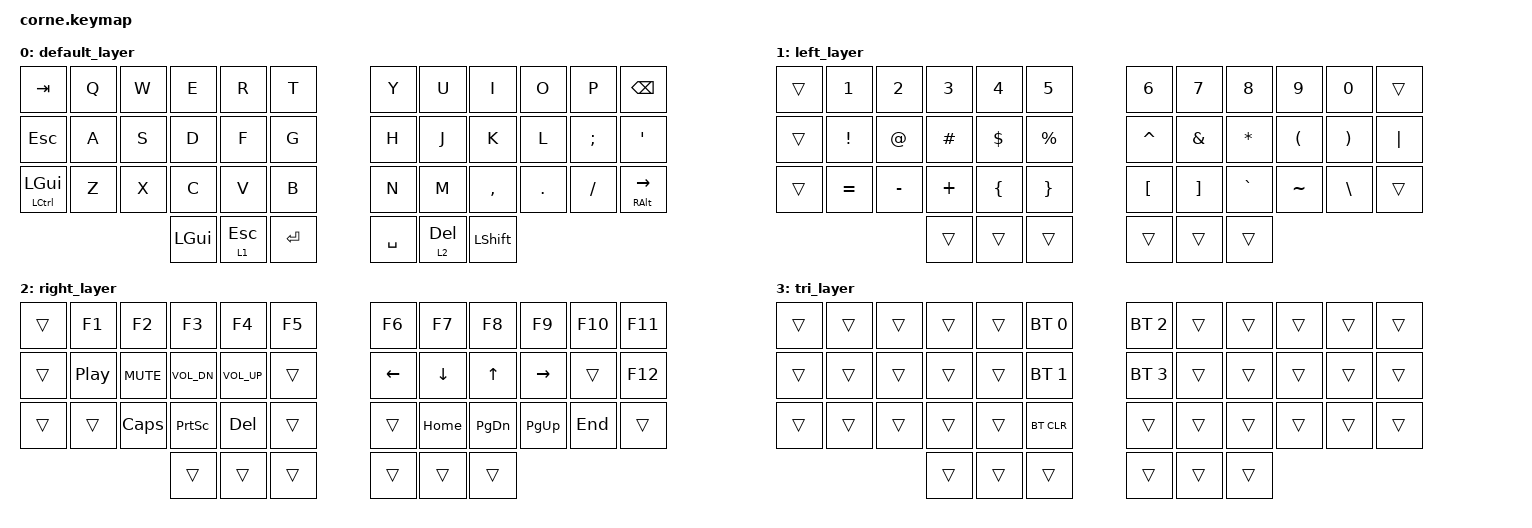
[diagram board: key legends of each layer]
/*
 * Copyright (c) 2020 The ZMK Contributors
 *
 * SPDX-License-Identifier: MIT
 */

#include <behaviors.dtsi>
#include <dt-bindings/zmk/keys.h>
#include <dt-bindings/zmk/bt.h>

#define NIX 0
#define LEF 1
#define RIG 2
#define TRI 3

/ {
    conditional_layers {
        compatible = "zmk,conditional-layers";

        tri_layer {
            if-layers = <LEF RIG>;
            then-layer = <TRI>;
        };
    };

    combos {
        compatible = "zmk,combos";

        new_combo {
            bindings = <&to 3>;
            key-positions = <37 40>;
        };
    };

    keymap {
        compatible = "zmk,keymap";

        default_layer {
            bindings = <
           &kp TAB  &kp Q  &kp W     &kp E         &kp R      &kp T        &kp Y         &kp U      &kp I    &kp O     &kp P        &kp BSPC
           &kp ESC  &kp A  &kp S     &kp D         &kp F      &kp G        &kp H         &kp J      &kp K    &kp L  &kp SEMI         &kp SQT
&mt LCTRL LEFT_GUI  &kp Z  &kp X     &kp C         &kp V      &kp B        &kp N         &kp M  &kp COMMA  &kp DOT  &kp FSLH  &mt RALT RIGHT
                                  &kp LGUI  &lt 1 ESCAPE  &kp ENTER    &kp SPACE  &lt 2 DELETE  &kp LSHFT
            >;
        };

        left_layer {
            bindings = <
&trans     &kp N1     &kp N2    &kp N3    &kp N4     &kp N5       &kp N6    &kp N7     &kp N8     &kp N9    &kp N0    &trans
&trans   &kp EXCL     &kp AT  &kp HASH  &kp DLLR  &kp PRCNT    &kp CARET  &kp AMPS  &kp ASTRK   &kp LPAR  &kp RPAR  &kp PIPE
&trans  &kp EQUAL  &kp MINUS  &kp PLUS  &kp LBRC   &kp RBRC     &kp LBKT  &kp RBKT  &kp GRAVE  &kp TILDE  &kp BSLH    &trans
                                &trans    &trans     &trans       &trans    &trans     &trans
            >;
        };

        right_layer {
            bindings = <
&trans    &kp F1      &kp F2        &kp F3        &kp F4  &kp F5      &kp F6    &kp F7        &kp F8     &kp F9  &kp F10  &kp F11
&trans  &kp C_PP  &kp C_MUTE  &kp C_VOL_DN  &kp C_VOL_UP  &trans    &kp LEFT  &kp DOWN  &kp UP_ARROW  &kp RIGHT   &trans  &kp F12
&trans    &trans    &kp CAPS     &kp PSCRN       &kp DEL  &trans      &trans  &kp HOME     &kp PG_DN  &kp PG_UP  &kp END   &trans
                                    &trans        &trans  &trans      &trans    &trans        &trans
            >;
        };

        tri_layer {
            bindings = <
&trans  &trans  &trans  &trans  &trans  &bt BT_SEL 0    &bt BT_SEL 2  &trans  &trans  &trans  &trans  &trans
&trans  &trans  &trans  &trans  &trans  &bt BT_SEL 1    &bt BT_SEL 3  &trans  &trans  &trans  &trans  &trans
&trans  &trans  &trans  &trans  &trans    &bt BT_CLR          &trans  &trans  &trans  &trans  &trans  &trans
                        &trans  &trans        &trans          &trans  &trans  &trans
            >;
        };
    };
};
